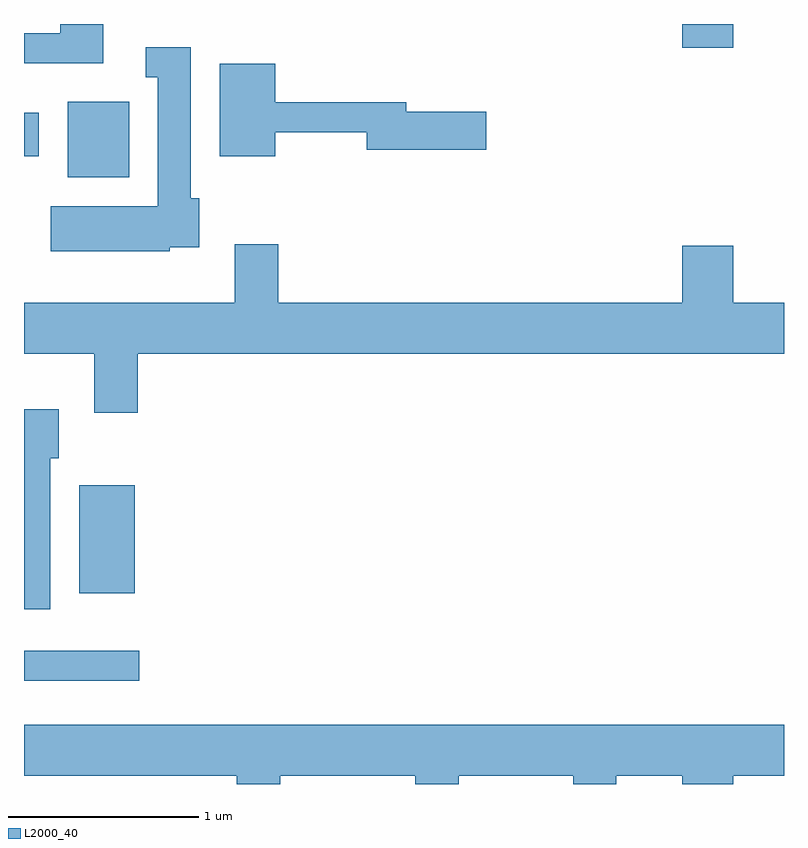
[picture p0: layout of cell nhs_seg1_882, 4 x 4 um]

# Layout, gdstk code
import gdstk
lib = gdstk.Library(unit=1e-6, precision=1e-09)
def R(c, l, rs):  # rectangles x0, y0, x1, y1
    for r in rs: c.add(gdstk.rectangle(r[:2], r[2:], *l))
def P(c, l, *ps):  # polygons
    for p in ps: c.add(gdstk.Polygon(p, *l))
L2000_40 = (2000, 40)

nhs_seg1_882 = lib.new_cell('nhs_seg1_882')
R(nhs_seg1_882, L2000_40, [(211.611,942.256,212.218,942.414), (211.901,942.716,212.194,943.284), (211.841,944.906,212.164,945.304), (211.611,945.016,211.689,945.244), (215.076,945.586,215.344,945.712)])
P(nhs_seg1_882, L2000_40, [(212.029,945.712),(211.801,945.712),(211.801,945.664),(211.611,945.664),(211.611,945.506),(212.029,945.506)],
  [(212.379,944.536),(212.534,944.536),(212.534,944.794),(212.489,944.794),(212.489,945.589),(212.253,945.589),(212.253,945.431),(212.316,945.431),(212.316,944.754),(211.751,944.754),(211.751,944.516),(212.379,944.516)],
  [(212.934,945.141),(213.416,945.141),(213.416,945.051),(214.044,945.051),(214.044,945.249),(213.624,945.249),(213.624,945.299),(212.934,945.299),(212.934,945.504),(212.641,945.504),(212.641,945.016),(212.934,945.016)],
  [(212.209,943.976),(215.611,943.976),(215.611,944.244),(215.344,944.244),(215.344,944.544),(215.076,944.544),(215.076,944.244),(212.949,944.244),(212.949,944.554),(212.721,944.554),(212.721,944.244),(211.611,944.244),(211.611,943.976),(211.981,943.976),(211.981,943.666),(212.209,943.666)],
  [(211.749,943.426),(211.794,943.426),(211.794,943.684),(211.611,943.684),(211.611,942.631),(211.749,942.631)],
  [(212.959,941.756),(213.671,941.756),(213.671,941.712),(213.899,941.712),(213.899,941.756),(214.501,941.756),(214.501,941.712),(214.729,941.712),(214.729,941.756),(215.076,941.756),(215.076,941.712),(215.344,941.712),(215.344,941.756),(215.611,941.756),(215.611,942.024),(211.611,942.024),(211.611,941.756),(212.731,941.756),(212.731,941.712),(212.959,941.712)])

lib.write_gds('nhs_seg1_882.gds')
